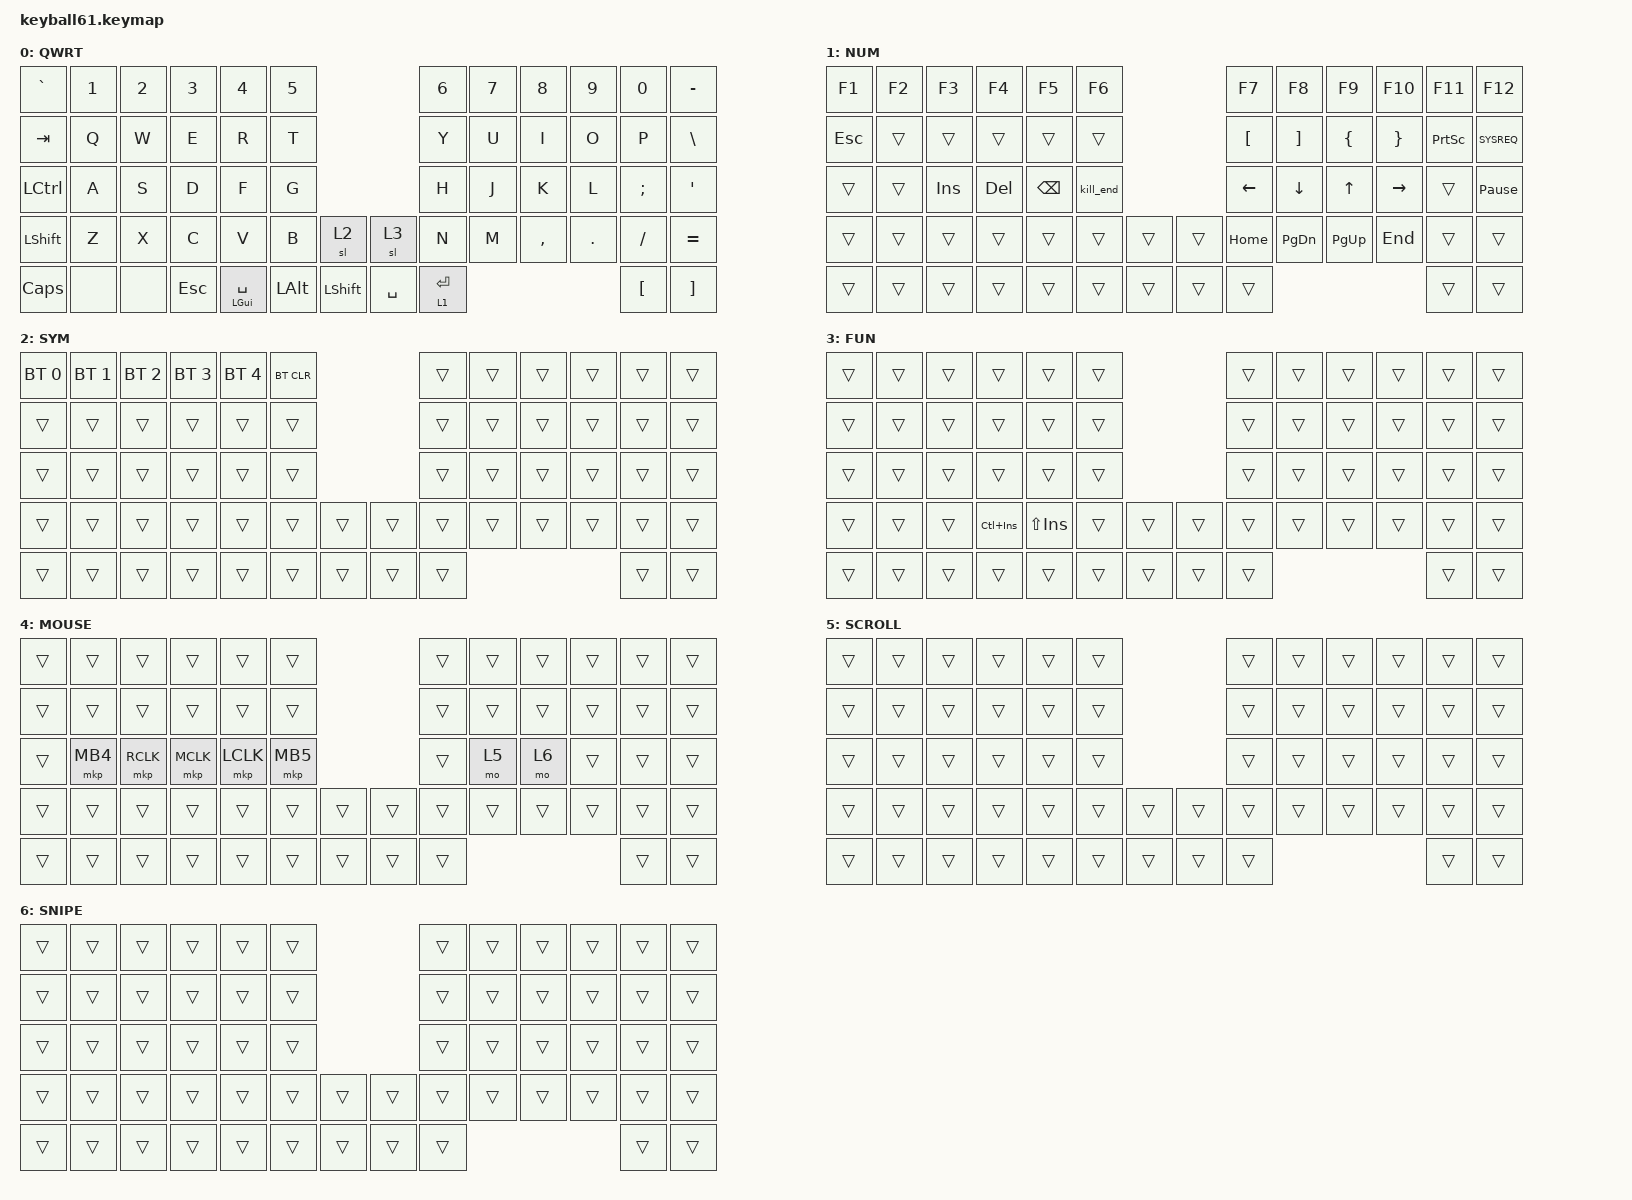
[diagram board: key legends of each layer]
#define DEFAULT 0
#define SYM     1
#define FUN     2
#define MOUSE   3
#define SCROLL  4
#define SNIPE   5

#include <behaviors/mouse_keys.dtsi>
#include <dt-bindings/zmk/mouse.h>
#include <behaviors.dtsi>
#include <dt-bindings/zmk/bt.h>
#include <dt-bindings/zmk/keys.h>
#include <dt-bindings/zmk/pointing.h>

&lt {
    tapping-term-ms = <240>;
    flavor = "hold-preferred";
    quick-tap-ms = <150>;
};

&mt {
    tapping-term-ms = <200>;
    flavor = "tap-preferred";
    quick-tap-ms = <150>;
};

/ {
    combos {
        compatible = "zmk,combos";

        L1 {
            bindings = <&kp LANG1>;
            key-positions = <31 32>;
        };

        L2 {
            bindings = <&kp LANG2>;
            key-positions = <28 27>;
        };
    };

    macros {
        kill_end: kill_end {
            compatible = "zmk,behavior-macro";
            #binding-cells = <0>;
            bindings = <&kp LS(END) &kp LC(X)>;
            label = "KILL_END";
        };
    };

    behaviors {
        shift_and_space: shift_and_space {
            compatible = "zmk,behavior-hold-tap";
            label = "SHIFT_AND_SPACE";
            bindings = <&kp>, <&kp>;

            #binding-cells = <2>;
            tapping-term-ms = <150>;
            hold-while-undecided;
        };
    };

    keymap {
        compatible = "zmk,keymap";

        default_layer {
            label = "QWRT";
            bindings = <
&kp GRAVE         &kp N1  &kp N2  &kp N3      &kp N4                           &kp N5                                   &kp N6       &kp N7  &kp N8     &kp N9   &kp N0            &kp MINUS
&kp TAB           &kp Q   &kp W   &kp E       &kp R                            &kp T                                    &kp Y        &kp U   &kp I      &kp O    &kp P             &kp BACKSLASH
&kp LEFT_CONTROL  &kp A   &kp S   &kp D       &kp F                            &kp G                                    &kp H        &kp J   &kp K      &kp L    &kp SEMI          &kp SQT
&kp LEFT_SHIFT    &kp Z   &kp X   &kp C       &kp V                            &kp B         &sl 2           &sl 3      &kp N        &kp M   &kp COMMA  &kp DOT  &kp FSLH          &kp EQUAL
&kp CAPSLOCK      &none   &none   &kp ESCAPE  &shift_and_space LEFT_GUI SPACE  &kp LEFT_ALT  &kp LEFT_SHIFT  &kp SPACE  &lt 1 ENTER                              &kp LEFT_BRACKET  &kp RIGHT_BRACKET
            >;
        };

        number_layer {
            bindings = <
&kp F1      &kp F2  &kp F3      &kp F4      &kp F5         &kp F6                     &kp F7            &kp F8             &kp F9          &kp F10          &kp F11          &kp F12
&kp ESCAPE  &trans  &trans      &trans      &trans         &trans                     &kp LEFT_BRACKET  &kp RIGHT_BRACKET  &kp LEFT_BRACE  &kp RIGHT_BRACE  &kp PRINTSCREEN  &kp SYSREQ
&trans      &trans  &kp INSERT  &kp DELETE  &kp BACKSPACE  &kill_end                  &kp LEFT          &kp DOWN           &kp UP          &kp RIGHT        &trans           &kp PAUSE_BREAK
&trans      &trans  &trans      &trans      &trans         &trans     &trans  &trans  &kp HOME          &kp PAGE_DOWN      &kp PAGE_UP     &kp END          &trans           &trans
&trans      &trans  &trans      &trans      &trans         &trans     &trans  &trans  &trans                                                                &trans           &trans
            >;

            label = "NUM";
        };

        symbol_layer {
            label = "SYM";
            bindings = <
&bt BT_SEL 0  &bt BT_SEL 1  &bt BT_SEL 2  &bt BT_SEL 3  &bt BT_SEL 4  &bt BT_CLR                  &trans  &trans  &trans  &trans  &trans  &trans
&trans        &trans        &trans        &trans        &trans        &trans                      &trans  &trans  &trans  &trans  &trans  &trans
&trans        &trans        &trans        &trans        &trans        &trans                      &trans  &trans  &trans  &trans  &trans  &trans
&trans        &trans        &trans        &trans        &trans        &trans      &trans  &trans  &trans  &trans  &trans  &trans  &trans  &trans
&trans        &trans        &trans        &trans        &trans        &trans      &trans  &trans  &trans                          &trans  &trans
            >;
        };

        function_layer {
            label = "FUN";
            bindings = <
&trans  &trans  &trans  &trans          &trans          &trans                  &trans  &trans  &trans  &trans  &trans  &trans
&trans  &trans  &trans  &trans          &trans          &trans                  &trans  &trans  &trans  &trans  &trans  &trans
&trans  &trans  &trans  &trans          &trans          &trans                  &trans  &trans  &trans  &trans  &trans  &trans
&trans  &trans  &trans  &kp LC(INSERT)  &kp LS(INSERT)  &trans  &trans  &trans  &trans  &trans  &trans  &trans  &trans  &trans
&trans  &trans  &trans  &trans          &trans          &trans  &trans  &trans  &trans                          &trans  &trans
            >;
        };

        mouse_layer {
            label = "MOUSE";
            bindings = <
&trans  &trans    &trans     &trans     &trans     &trans                    &trans  &trans  &trans  &trans  &trans  &trans
&trans  &trans    &trans     &trans     &trans     &trans                    &trans  &trans  &trans  &trans  &trans  &trans
&trans  &mkp MB4  &mkp RCLK  &mkp MCLK  &mkp LCLK  &mkp MB5                  &trans  &mo 5   &mo 6   &trans  &trans  &trans
&trans  &trans    &trans     &trans     &trans     &trans    &trans  &trans  &trans  &trans  &trans  &trans  &trans  &trans
&trans  &trans    &trans     &trans     &trans     &trans    &trans  &trans  &trans                          &trans  &trans
            >;
        };

        scroll_layer {
            label = "SCROLL";
            bindings = <
&trans  &trans  &trans  &trans  &trans  &trans                  &trans  &trans  &trans  &trans  &trans  &trans
&trans  &trans  &trans  &trans  &trans  &trans                  &trans  &trans  &trans  &trans  &trans  &trans
&trans  &trans  &trans  &trans  &trans  &trans                  &trans  &trans  &trans  &trans  &trans  &trans
&trans  &trans  &trans  &trans  &trans  &trans  &trans  &trans  &trans  &trans  &trans  &trans  &trans  &trans
&trans  &trans  &trans  &trans  &trans  &trans  &trans  &trans  &trans                          &trans  &trans
            >;
        };

        snipe_layer {
            label = "SNIPE";
            bindings = <
&trans  &trans  &trans  &trans  &trans  &trans                  &trans  &trans  &trans  &trans  &trans  &trans
&trans  &trans  &trans  &trans  &trans  &trans                  &trans  &trans  &trans  &trans  &trans  &trans
&trans  &trans  &trans  &trans  &trans  &trans                  &trans  &trans  &trans  &trans  &trans  &trans
&trans  &trans  &trans  &trans  &trans  &trans  &trans  &trans  &trans  &trans  &trans  &trans  &trans  &trans
&trans  &trans  &trans  &trans  &trans  &trans  &trans  &trans  &trans                          &trans  &trans
            >;
        };
    };
};
